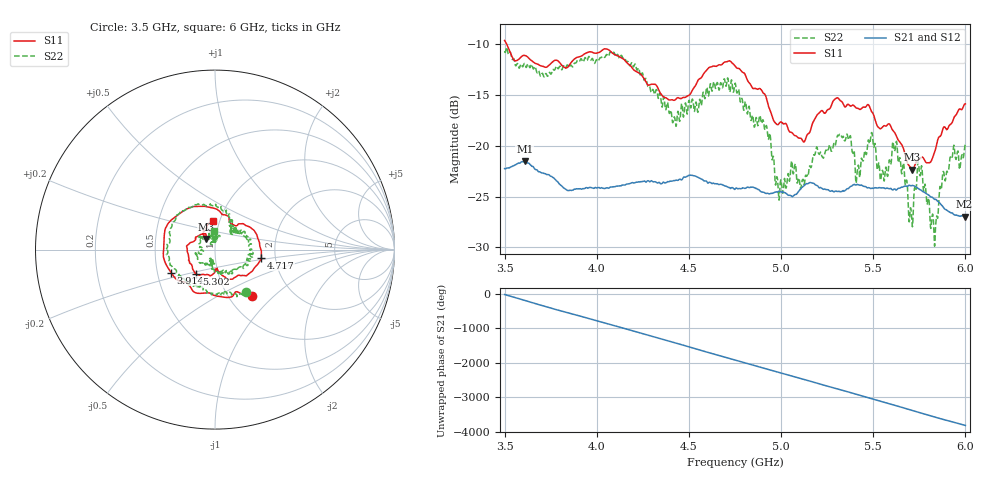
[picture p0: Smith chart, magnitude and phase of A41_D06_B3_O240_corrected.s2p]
! Created with skrf 1.9.0 (http://scikit-rf.org).
# Hz S RI R 50.0
!freq ReS11 ImS11 ReS21 ImS21 ReS12 ImS12 ReS22 ImS22
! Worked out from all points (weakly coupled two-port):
!   1601 points, 3.5 GHz to 6 GHz, reference 50 ohm
!   highest |S21| = -21.53 dB at 3.609 GHz (marker M1); lowest = -27.0 dB at 5.995 GHz (marker M2)
!   lowest |S11| = -22.3 dB at 5.713 GHz (marker M3), VSWR 1.17, Z = 45.1 + j5.37 ohm
!   |S11| at or under -10 dB: 3.512 GHz to end of sweep
!   |S22| runs from -29.9 to -10.3 dB; largest |S21 - S12| = 0.00095
!   S11 on the Smith chart (normalised r, x): 3.5 GHz: 1.27, -0.74; 3.914 GHz: 0.59, -0.16; 4.717 GHz: 1.69, -0.16; 5.302 GHz: 0.78, -0.22; 6 GHz: 0.93, +0.31
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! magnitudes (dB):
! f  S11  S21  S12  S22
! 3.5 GHz  -9.6  -22.2  -22.2  -10.7
! 3.609 GHz  -11.1  -21.5  -21.5  -11.9
! 3.914 GHz  -11.2  -24.2  -24.2  -11.4
! 3.917 GHz  -11.2  -24.3  -24.2  -11.5
! 4.334 GHz  -14.4  -23.6  -23.6  -15.3
! 4.422 GHz  -15.5  -23.4  -23.4  -17.2
! 4.717 GHz  -11.6  -24.1  -24.1  -14.2
! 4.75 GHz  -12.1  -24.3  -24.2  -13.9
! 4.93 GHz  -15.9  -24.7  -24.6  -19.3
! 4.981 GHz  -17.9  -24.5  -24.5  -23.4
! 5.167 GHz  -18.0  -23.7  -23.6  -21.8
! 5.302 GHz  -15.3  -24.5  -24.4  -19.3
! 5.416 GHz  -16.3  -23.8  -23.8  -22.2
! 5.484 GHz  -16.3  -24.2  -24.1  -19.4
! 5.584 GHz  -17.8  -24.2  -24.2  -21.8
! 5.619 GHz  -18.8  -24.3  -24.3  -20.4
! 5.713 GHz  -22.3  -23.9  -23.8  -28.0
! 5.753 GHz  -21.3  -24.3  -24.2  -22.9
! 5.839 GHz  -20.2  -25.3  -25.2  -27.8
! 5.927 GHz  -17.7  -26.6  -26.5  -21.2
! 5.995 GHz  -15.9  -27.0  -26.9  -20.3
! 6 GHz  -15.9  -27.0  -26.9  -19.8
